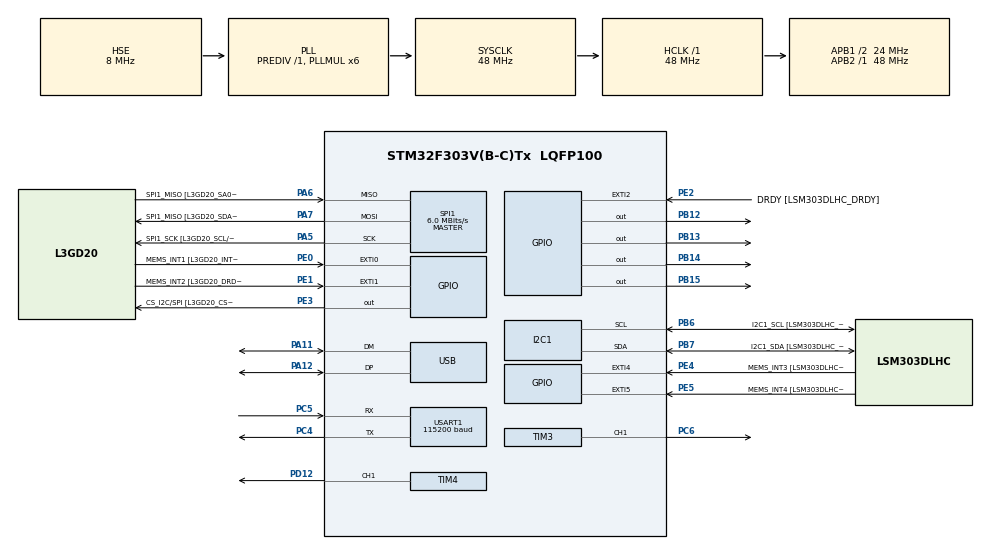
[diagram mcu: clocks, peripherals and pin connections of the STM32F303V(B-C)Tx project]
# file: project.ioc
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I2C1.Timing=0x2000090E
I2C1.Timing-I2C=0x2000090E
Mcu.Family=STM32F3
Mcu.Name=STM32F303V(B-C)Tx
Mcu.Package=LQFP100
NVIC.PriorityGroup=NVIC_PRIORITYGROUP_0
PA11.Mode=Device
PA11.Signal=USB_DM
PA12.Mode=Device
PA12.Signal=USB_DP
PA5.GPIO_Label=SPI1_SCK [L3GD20_SCL/SPC]
PA5.Mode=Full_Duplex_Master
PA5.Signal=SPI1_SCK
PA6.GPIO_Label=SPI1_MISO [L3GD20_SA0/SDO]
PA6.Mode=Full_Duplex_Master
PA6.Signal=SPI1_MISO
PA7.GPIO_Label=SPI1_MISO [L3GD20_SDA/SDI/SDO]
PA7.Mode=Full_Duplex_Master
PA7.Signal=SPI1_MOSI
PB12.Signal=GPIO_Output
PB13.Signal=GPIO_Output
PB14.Signal=GPIO_Output
PB15.Signal=GPIO_Output
PB6.GPIO_Label=I2C1_SCL [LSM303DLHC_SCL]
PB6.GPIO_Pu=GPIO_PULLUP
PB6.Mode=I2C
PB6.Signal=I2C1_SCL
PB7.GPIO_Label=I2C1_SDA [LSM303DLHC_SDA]
PB7.GPIO_Pu=GPIO_PULLUP
PB7.Mode=I2C
PB7.Signal=I2C1_SDA
PC4.Mode=Asynchronous
PC4.Signal=USART1_TX
PC5.Mode=Asynchronous
PC5.Signal=USART1_RX
PC6.Signal=S_TIM3_CH1
PD12.Signal=S_TIM4_CH1
PE0.GPIO_Label=MEMS_INT1 [L3GD20_INT1]
PE0.GPIO_ModeDefaultEXTI=GPIO_MODE_EVT_RISING
PE0.Signal=GPXTI0
PE1.GPIO_Label=MEMS_INT2 [L3GD20_DRDY/INT2]
PE1.GPIO_ModeDefaultEXTI=GPIO_MODE_EVT_RISING
PE1.Signal=GPXTI1
PE2.GPIO_Label=DRDY [LSM303DLHC_DRDY]
PE2.GPIO_ModeDefaultEXTI=GPIO_MODE_EVT_RISING
PE2.Signal=GPXTI2
PE3.GPIO_Label=CS_I2C/SPI [L3GD20_CS_I2C/SPI]
PE3.Signal=GPIO_Output
PE4.GPIO_Label=MEMS_INT3 [LSM303DLHC_INT1]
PE4.GPIO_ModeDefaultEXTI=GPIO_MODE_EVT_RISING
PE4.Signal=GPXTI4
PE5.GPIO_Label=MEMS_INT4 [LSM303DLHC_INT2]
PE5.GPIO_ModeDefaultEXTI=GPIO_MODE_EVT_RISING
PE5.Signal=GPXTI5
PF0-OSC_IN.Mode=HSE-External-Oscillator
PF0-OSC_IN.Signal=RCC_OSC_IN
PF1-OSC_OUT.Mode=HSE-External-Oscillator
PF1-OSC_OUT.Signal=RCC_OSC_OUT
ProjectManager.HeapSize=0x200
ProjectManager.StackSize=0x400
ProjectManager.TargetToolchain=CMake
RCC.AHBFreq_Value=48000000
RCC.APB1CLKDivider=RCC_HCLK_DIV2
RCC.APB1Freq_Value=24000000
RCC.APB1TimFreq_Value=48000000
RCC.APB2Freq_Value=48000000
RCC.APB2TimFreq_Value=48000000
RCC.CortexFreq_Value=48000000
RCC.HCLKFreq_Value=48000000
RCC.HSE_VALUE=8000000
RCC.HSI_VALUE=8000000
RCC.LSE_VALUE=32768
RCC.PLLMUL=RCC_PLL_MUL6
RCC.SYSCLKFreq_VALUE=48000000
RCC.SYSCLKSourceVirtual=RCC_SYSCLKSOURCE_PLLCLK
RCC.USBFreq_Value=48000000
SH.S_TIM3_CH1.0=TIM3_CH1,PWM Generation1 CH1
SH.S_TIM4_CH1.0=TIM4_CH1,PWM Generation1 CH1
SPI1.BaudRatePrescaler=SPI_BAUDRATEPRESCALER_8
SPI1.BaudRatePrescaler-Full_Duplex_Master=SPI_BAUDRATEPRESCALER_2
SPI1.CalculateBaudRate=6.0 MBits/s
SPI1.CalculateBaudRate-Full_Duplex_Master=24.0 MBits/s
SPI1.DataSize=SPI_DATASIZE_8BIT
SPI1.Direction=SPI_DIRECTION_2LINES
SPI1.Mode=SPI_MODE_MASTER
SPI1.Mode-Full_Duplex_Master=SPI_MODE_MASTER
SPI1.NSSPMode=SPI_NSS_PULSE_DISABLE
SPI1.VirtualType=VM_MASTER
TIM3.Channel-PWM\ Generation1\ CH1=TIM_CHANNEL_1
TIM4.Channel-PWM\ Generation1\ CH1=TIM_CHANNEL_1
USART1.BaudRate=115200
USART1.VirtualMode-Asynchronous=VM_ASYNC
VP_TIM3_VS_ClockSourceINT.Mode=Internal
VP_TIM4_VS_ClockSourceINT.Mode=Internal
board=STM32F3DISCOVERY

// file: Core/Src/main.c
/* USER CODE BEGIN Header */
/**
  ******************************************************************************
  * @file           : main.c
  * @brief          : Main program body
  ******************************************************************************
  * @attention
  *
  * Copyright (c) 2025 STMicroelectronics.
  * All rights reserved.
  *
  * This software is licensed under terms that can be found in the LICENSE file
  * in the root directory of this software component.
  * If no LICENSE file comes with this software, it is provided AS-IS.
  *
  ******************************************************************************
  */
/* USER CODE END Header */
#include "main.h"

/* USER CODE BEGIN Includes */
#include "pid.h"
#include <string.h>
#include <stdio.h>
#include <stdlib.h>
/* USER CODE END Includes */

I2C_HandleTypeDef hi2c1;

SPI_HandleTypeDef hspi1;

TIM_HandleTypeDef htim3;
TIM_HandleTypeDef htim4;

UART_HandleTypeDef huart1;

PCD_HandleTypeDef hpcd_USB_FS;

/* USER CODE BEGIN PV */
char Buffer[100];
float y_acc_offset = 0.0;
float angleY = 0.0;
int16_t y_raw;
PIDController balance_pid;
int16_t motor_direction;
float error;
float tiltAngle = 0.0;
uint16_t pwm_freq_prescaler = 47;
uint16_t duty_cycle = 0;
uint16_t pwm_period = 99;
float error = 0;
float int_error = 0;
float target_angle = 0.0;
#define IMU_ADDRESS_READ 0x33
#define IMU_ADDRESS_WRITE 0x32
#define CTRL_REG_1 0x20
#define Y_OUT_H 0x2B
#define Y_OUT_L 0x2A
#define SCALE_2G  3.9f
#define RAD_TO_DEG 57.2957795f
#define MOTOR_MAX_PWM 75
#define MOTOR_MIN_PWM 0
#define CTRL_REG1 0x20             // Gyroscope control register 1 address
#define CTRL_REG1_VAL 0b00011100
#define MAX_ERROR 20// Enables: Power, X/Y/Z axes, and sets Output Data Rate (ODR)

#define CTRL_REG4  0x23
#define CTRL_REG4_VAL  0b00000000  // Full-scale = ±245 dps

float gyro_offset = 0.0;

#define SAMPLE_SIZE 5
/* USER CODE END PV */

void SystemClock_Config(void);
static void MX_GPIO_Init(void);
static void MX_I2C1_Init(void);
static void MX_SPI1_Init(void);
static void MX_USART1_UART_Init(void);
static void MX_USB_PCD_Init(void);
static void MX_TIM3_Init(void);
static void MX_TIM4_Init(void);

/* USER CODE BEGIN 0 */
void calibrate_accel_y(void) {

  const int num_readings = 20;
  float acc_sum = 0.0f;
  uint8_t yl, yh;

  for (int i = 0; i < num_readings; i++) {

      // Read X-axis low and high bytes
      HAL_I2C_Mem_Read(&hi2c1, IMU_ADDRESS_READ, Y_OUT_L, I2C_MEMADD_SIZE_8BIT, &yl, 1, HAL_MAX_DELAY);
      HAL_I2C_Mem_Read(&hi2c1, IMU_ADDRESS_READ, Y_OUT_H, I2C_MEMADD_SIZE_8BIT, &yh, 1, HAL_MAX_DELAY);

      int16_t raw_y = (int16_t)((yh << 8) | yl);
      int16_t accel_y = raw_y >> 6;
      float accel_y_mg = accel_y * SCALE_2G;
      float accel_y_g = (accel_y_mg / 1000.0f)*RAD_TO_DEG;

      acc_sum += accel_y_g;
      HAL_Delay(50);  // small delay between readings

  }

  y_acc_offset = acc_sum / num_readings;  // calculate the offset for gyro

}
float read_accel_y(void) {

  uint8_t yl, yh;

  HAL_I2C_Mem_Read(&hi2c1, IMU_ADDRESS_READ, Y_OUT_L, I2C_MEMADD_SIZE_8BIT, &yl, 1, HAL_MAX_DELAY);
  HAL_I2C_Mem_Read(&hi2c1, IMU_ADDRESS_READ, Y_OUT_H, I2C_MEMADD_SIZE_8BIT, &yh, 1, HAL_MAX_DELAY);

  int16_t raw_y = (int16_t)((yh<<8) | yl);
  int16_t accel_y = raw_y>>6; // for 10 bit
  float accel_y_mg = accel_y * SCALE_2G;
  return (accel_y_mg / 1000.0f) * RAD_TO_DEG;

}

void init_acc(){

  uint8_t ctrl1 = 0x63;
  uint8_t ctrl4 = 0x00;   // ±2g, normal resolution

  HAL_I2C_Mem_Write(&hi2c1, IMU_ADDRESS_WRITE, 0x20, I2C_MEMADD_SIZE_8BIT, &ctrl1, 1, HAL_MAX_DELAY);
  HAL_I2C_Mem_Write(&hi2c1, IMU_ADDRESS_WRITE, 0x23, I2C_MEMADD_SIZE_8BIT, &ctrl4, 1, HAL_MAX_DELAY);

}

void gyro_init()
{
    uint8_t tx[2] = { 0x20, 0b00011111 }; // Write CTRL_REG1 = 0x1F

    HAL_GPIO_WritePin(GPIOE, GPIO_PIN_3, GPIO_PIN_RESET); // CS low (start communication)
    HAL_SPI_Transmit(&hspi1, tx, 2, HAL_MAX_DELAY);       // Send address + value
    HAL_GPIO_WritePin(GPIOE, GPIO_PIN_3, GPIO_PIN_SET);   // CS high (end communication)
}
uint8_t gyro_read_register(uint8_t reg)
{
    uint8_t tx = 0x80 | reg; // Set MSB to indicate read operation
    uint8_t rx = 0;

    HAL_GPIO_WritePin(GPIOE, GPIO_PIN_3, GPIO_PIN_RESET); // CS low
    HAL_SPI_Transmit(&hspi1, &tx, 1, HAL_MAX_DELAY);       // Send register address
    HAL_SPI_Receive(&hspi1, &rx, 1, HAL_MAX_DELAY);        // Receive data byte
    HAL_GPIO_WritePin(GPIOE, GPIO_PIN_3, GPIO_PIN_SET);   // CS high

    return rx; // Return the value read from the register
}
void calibrate_gyro(void) {

  const int num_readings = 20;
  float gyro_sum = 0.0f;
  uint8_t y_l, y_h;
  int16_t y_raw;

  for (int i = 0; i < num_readings; ++i) {

    // Read low and high registers for y-axis:
    y_l = gyro_read_register(0x2A);
    y_h = gyro_read_register(0x2B);

    // Combine low and high bytes into 16-bit signed integers
    y_raw = (int16_t)(y_h << 8 | y_l);

    gyro_sum += y_raw;
  }

  gyro_offset = gyro_sum / num_readings;

}
void print_angle() {

  char msg[128];
  uint8_t y_l = gyro_read_register(0x28);
  uint8_t y_h = gyro_read_register(0x29);

  // Combine low and high bytes into 16-bit signed integers
  y_raw = (int16_t)(y_h << 8 | y_l);
  float final_accel = read_accel_y() - y_acc_offset;
  float gyro_filtered = y_raw - gyro_offset;
  // Read low and high registers for y-axis:

    // === Convert to dps (°/s) using sensitivity scale ===
  // According to L3GD20 datasheet, ±245 dps mode → 8.75 mdps/digit = 0.00875 dps/digit
  float final_gyro = -(gyro_filtered * 0.00875f);

  angleY = 0.98 * (angleY + final_gyro * (1 / SAMPLE_SIZE)) + 0.02 * final_accel;

}

void setPWMspeed(void) {
    char debug_buf[100];

    // Calculate error: target - current angle
    error = target_angle - angleY;
    sprintf(debug_buf, "Angle: %.2f\r\n", angleY);
    HAL_UART_Transmit(&huart1, (uint8_t*)debug_buf, strlen(debug_buf), HAL_MAX_DELAY);

    // Apply PID (target as setpoint, angleY as measurement)
    PIDController_Update(&balance_pid, target_angle, angleY);

    // Get PID output

    motor_direction = (int16_t)balance_pid.motor_output; //fr direction
    int16_t pwm_dutycycle= abs(motor_direction); //for speed (duty cycle)
    int16_t final_dutycycle = (pwm_dutycycle/((MAX_ERROR*balance_pid.kp)+150))*MOTOR_MAX_PWM;
    float pwm_percentage = (final_dutycycle * 100.0f) / MOTOR_MAX_PWM;
    if (pwm_percentage <= 3.0f) {
        final_dutycycle = 0;
    }

    // sprintf(debug_buf, "\tPID Output (PWM): %d\r\n", final_dutycycle);
    // HAL_UART_Transmit(&huart1, (uint8_t*)debug_buf, strlen(debug_buf), HAL_MAX_DELAY);

    // Clamp PID output

    //abs value change for compare
    // if (pwm_dutycycle > MOTOR_MAX_PWM) pwm_dutycycle  = MOTOR_MAX_PWM;
    // if (pwm_dutycycle  < MOTOR_MIN_PWM) pwm_dutycycle  = MOTOR_MIN_PWM;

    // Determine direction and apply PWM

    if(angleY>MAX_ERROR || angleY<-MAX_ERROR){ // Stop
        HAL_GPIO_WritePin(GPIOB, GPIO_PIN_0, GPIO_PIN_RESET);
        HAL_GPIO_WritePin(GPIOB, GPIO_PIN_1, GPIO_PIN_RESET);
        HAL_GPIO_WritePin(GPIOB, GPIO_PIN_2, GPIO_PIN_RESET);
        HAL_GPIO_WritePin(GPIOB, GPIO_PIN_3, GPIO_PIN_RESET);

        __HAL_TIM_SET_COMPARE(&htim3, TIM_CHANNEL_1, 0);
        __HAL_TIM_SET_COMPARE(&htim4, TIM_CHANNEL_1, 0);
        // HAL_UART_Transmit(&huart1, (uint8_t*)"Direction: Stop\r\n", 17, HAL_MAX_DELAY);
    }else{
      if (motor_direction>=0) { // Forward
        HAL_GPIO_WritePin(GPIOB, GPIO_PIN_12, GPIO_PIN_RESET);
        HAL_GPIO_WritePin(GPIOB, GPIO_PIN_13, GPIO_PIN_SET);
        HAL_GPIO_WritePin(GPIOB, GPIO_PIN_14, GPIO_PIN_RESET);
        HAL_GPIO_WritePin(GPIOB, GPIO_PIN_15, GPIO_PIN_SET);

        __HAL_TIM_SET_COMPARE(&htim3, TIM_CHANNEL_1, final_dutycycle );
        __HAL_TIM_SET_COMPARE(&htim4, TIM_CHANNEL_1, final_dutycycle );
        // HAL_UART_Transmit(&huart1, (uint8_t*)"Direction: Forward\r\n", 20, HAL_MAX_DELAY);
      //check for motor speed and 0><
    } else if (motor_direction< 0) { // Backward

        HAL_GPIO_WritePin(GPIOB, GPIO_PIN_12, GPIO_PIN_SET);
        HAL_GPIO_WritePin(GPIOB, GPIO_PIN_13, GPIO_PIN_RESET);
        HAL_GPIO_WritePin(GPIOB, GPIO_PIN_14, GPIO_PIN_SET);
        HAL_GPIO_WritePin(GPIOB, GPIO_PIN_15, GPIO_PIN_RESET);

       __HAL_TIM_SET_COMPARE(&htim3, TIM_CHANNEL_1, final_dutycycle );
        __HAL_TIM_SET_COMPARE(&htim4, TIM_CHANNEL_1, final_dutycycle );
        // HAL_UART_Transmit(&huart1, (uint8_t*)"Direction: Backward\r\n", 22, HAL_MAX_DELAY);
        // angle +-20 stop

    }
    }
}
/* USER CODE END 0 */

int main(void)
{

  /* MCU Configuration--------------------------------------------------------*/

  /* Reset of all peripherals, Initializes the Flash interface and the Systick. */
  HAL_Init();

  /* Configure the system clock */
  SystemClock_Config();

  /* Initialize all configured peripherals */
  MX_GPIO_Init();
  MX_I2C1_Init();
  MX_SPI1_Init();
  MX_USART1_UART_Init();
  MX_USB_PCD_Init();
  MX_TIM3_Init();
  MX_TIM4_Init();
  /* USER CODE BEGIN 2 */
  gyro_init();       // Initialize gyro (enable power and axes)
  HAL_Delay(500);    // Delay to allow sensor to stabilize
  calibrate_gyro();
    // === Gyro End === //
  init_acc();
  HAL_Delay(500);    // Delay to allow sensor to stabilize
  calibrate_accel_y();

  HAL_TIM_PWM_Start(&htim3, TIM_CHANNEL_1);
  HAL_TIM_PWM_Start(&htim4, TIM_CHANNEL_1);
  HAL_GPIO_WritePin(GPIOB, GPIO_PIN_12,0);
  HAL_GPIO_WritePin(GPIOB, GPIO_PIN_13,0);
  HAL_GPIO_WritePin(GPIOB, GPIO_PIN_14,0);
  HAL_GPIO_WritePin(GPIOB, GPIO_PIN_15,0);
  balance_pid.kp =20;
  balance_pid.ki = 8;
  balance_pid.kd = 0;
  balance_pid.sampling_time = SAMPLE_SIZE;
  PIDController_Init(&balance_pid);
  /* USER CODE END 2 */

  /* Infinite loop */
  /* USER CODE BEGIN WHILE */
  while (1)
  {
      HAL_GPIO_TogglePin(GPIOC,GPIO_PIN_9);
      print_angle();
      setPWMspeed();
      HAL_Delay(SAMPLE_SIZE);
    /* USER CODE END WHILE */

  }
}

void SystemClock_Config(void)
{
  RCC_OscInitTypeDef RCC_OscInitStruct = {0};
  RCC_ClkInitTypeDef RCC_ClkInitStruct = {0};
  RCC_PeriphCLKInitTypeDef PeriphClkInit = {0};

  /** Initializes the RCC Oscillators according to the specified parameters
  * in the RCC_OscInitTypeDef structure.
  */
  RCC_OscInitStruct.OscillatorType = RCC_OSCILLATORTYPE_HSI|RCC_OSCILLATORTYPE_HSE;
  RCC_OscInitStruct.HSEState = RCC_HSE_ON;
  RCC_OscInitStruct.HSEPredivValue = RCC_HSE_PREDIV_DIV1;
  RCC_OscInitStruct.HSIState = RCC_HSI_ON;
  RCC_OscInitStruct.HSICalibrationValue = RCC_HSICALIBRATION_DEFAULT;
  RCC_OscInitStruct.PLL.PLLState = RCC_PLL_ON;
  RCC_OscInitStruct.PLL.PLLSource = RCC_PLLSOURCE_HSE;
  RCC_OscInitStruct.PLL.PLLMUL = RCC_PLL_MUL6;
  if (HAL_RCC_OscConfig(&RCC_OscInitStruct) != HAL_OK)
  {
    Error_Handler();
  }

  /** Initializes the CPU, AHB and APB buses clocks
  */
  RCC_ClkInitStruct.ClockType = RCC_CLOCKTYPE_HCLK|RCC_CLOCKTYPE_SYSCLK
                              |RCC_CLOCKTYPE_PCLK1|RCC_CLOCKTYPE_PCLK2;
  RCC_ClkInitStruct.SYSCLKSource = RCC_SYSCLKSOURCE_PLLCLK;
  RCC_ClkInitStruct.AHBCLKDivider = RCC_SYSCLK_DIV1;
  RCC_ClkInitStruct.APB1CLKDivider = RCC_HCLK_DIV2;
  RCC_ClkInitStruct.APB2CLKDivider = RCC_HCLK_DIV1;

  if (HAL_RCC_ClockConfig(&RCC_ClkInitStruct, FLASH_LATENCY_1) != HAL_OK)
  {
    Error_Handler();
  }
  PeriphClkInit.PeriphClockSelection = RCC_PERIPHCLK_USB|RCC_PERIPHCLK_USART1
                              |RCC_PERIPHCLK_I2C1;
  PeriphClkInit.Usart1ClockSelection = RCC_USART1CLKSOURCE_PCLK2;
  PeriphClkInit.I2c1ClockSelection = RCC_I2C1CLKSOURCE_HSI;
  PeriphClkInit.USBClockSelection = RCC_USBCLKSOURCE_PLL;
  if (HAL_RCCEx_PeriphCLKConfig(&PeriphClkInit) != HAL_OK)
  {
    Error_Handler();
  }
}

static void MX_I2C1_Init(void)
{

  hi2c1.Instance = I2C1;
  hi2c1.Init.Timing = 0x2000090E;
  hi2c1.Init.OwnAddress1 = 0;
  hi2c1.Init.AddressingMode = I2C_ADDRESSINGMODE_7BIT;
  hi2c1.Init.DualAddressMode = I2C_DUALADDRESS_DISABLE;
  hi2c1.Init.OwnAddress2 = 0;
  hi2c1.Init.OwnAddress2Masks = I2C_OA2_NOMASK;
  hi2c1.Init.GeneralCallMode = I2C_GENERALCALL_DISABLE;
  hi2c1.Init.NoStretchMode = I2C_NOSTRETCH_DISABLE;
  if (HAL_I2C_Init(&hi2c1) != HAL_OK)
  {
    Error_Handler();
  }

  /** Configure Analogue filter
  */
  if (HAL_I2CEx_ConfigAnalogFilter(&hi2c1, I2C_ANALOGFILTER_ENABLE) != HAL_OK)
  {
    Error_Handler();
  }

  /** Configure Digital filter
  */
  if (HAL_I2CEx_ConfigDigitalFilter(&hi2c1, 0) != HAL_OK)
  {
    Error_Handler();
  }

}

static void MX_SPI1_Init(void)
{

  /* SPI1 parameter configuration*/
  hspi1.Instance = SPI1;
  hspi1.Init.Mode = SPI_MODE_MASTER;
  hspi1.Init.Direction = SPI_DIRECTION_2LINES;
  hspi1.Init.DataSize = SPI_DATASIZE_8BIT;
  hspi1.Init.CLKPolarity = SPI_POLARITY_LOW;
  hspi1.Init.CLKPhase = SPI_PHASE_1EDGE;
  hspi1.Init.NSS = SPI_NSS_SOFT;
  hspi1.Init.BaudRatePrescaler = SPI_BAUDRATEPRESCALER_8;
  hspi1.Init.FirstBit = SPI_FIRSTBIT_MSB;
  hspi1.Init.TIMode = SPI_TIMODE_DISABLE;
  hspi1.Init.CRCCalculation = SPI_CRCCALCULATION_DISABLE;
  hspi1.Init.CRCPolynomial = 7;
  hspi1.Init.CRCLength = SPI_CRC_LENGTH_DATASIZE;
  hspi1.Init.NSSPMode = SPI_NSS_PULSE_DISABLE;
  if (HAL_SPI_Init(&hspi1) != HAL_OK)
  {
    Error_Handler();
  }

}

static void MX_TIM3_Init(void)
{

  TIM_ClockConfigTypeDef sClockSourceConfig = {0};
  TIM_MasterConfigTypeDef sMasterConfig = {0};
  TIM_OC_InitTypeDef sConfigOC = {0};

  htim3.Instance = TIM3;
  htim3.Init.Prescaler = pwm_freq_prescaler;
  htim3.Init.CounterMode = TIM_COUNTERMODE_UP;
  htim3.Init.Period = pwm_period;
  htim3.Init.ClockDivision = TIM_CLOCKDIVISION_DIV1;
  htim3.Init.AutoReloadPreload = TIM_AUTORELOAD_PRELOAD_DISABLE;
  if (HAL_TIM_Base_Init(&htim3) != HAL_OK)
  {
    Error_Handler();
  }
  sClockSourceConfig.ClockSource = TIM_CLOCKSOURCE_INTERNAL;
  if (HAL_TIM_ConfigClockSource(&htim3, &sClockSourceConfig) != HAL_OK)
  {
    Error_Handler();
  }
  if (HAL_TIM_PWM_Init(&htim3) != HAL_OK)
  {
    Error_Handler();
  }
  sMasterConfig.MasterOutputTrigger = TIM_TRGO_RESET;
  sMasterConfig.MasterSlaveMode = TIM_MASTERSLAVEMODE_DISABLE;
  if (HAL_TIMEx_MasterConfigSynchronization(&htim3, &sMasterConfig) != HAL_OK)
  {
    Error_Handler();
  }
  sConfigOC.OCMode = TIM_OCMODE_PWM1;
  sConfigOC.Pulse = duty_cycle;
  sConfigOC.OCPolarity = TIM_OCPOLARITY_HIGH;
  sConfigOC.OCFastMode = TIM_OCFAST_DISABLE;
  if (HAL_TIM_PWM_ConfigChannel(&htim3, &sConfigOC, TIM_CHANNEL_1) != HAL_OK)
  {
    Error_Handler();
  }
  HAL_TIM_MspPostInit(&htim3);

}

static void MX_TIM4_Init(void)
{

  TIM_ClockConfigTypeDef sClockSourceConfig = {0};
  TIM_MasterConfigTypeDef sMasterConfig = {0};
  TIM_OC_InitTypeDef sConfigOC = {0};

  htim4.Instance = TIM4;
  htim4.Init.Prescaler =pwm_freq_prescaler;
  htim4.Init.CounterMode = TIM_COUNTERMODE_UP;
  htim4.Init.Period = pwm_period;
  htim4.Init.ClockDivision = TIM_CLOCKDIVISION_DIV1;
  htim4.Init.AutoReloadPreload = TIM_AUTORELOAD_PRELOAD_DISABLE;
  if (HAL_TIM_Base_Init(&htim4) != HAL_OK)
  {
    Error_Handler();
  }
  sClockSourceConfig.ClockSource = TIM_CLOCKSOURCE_INTERNAL;
  if (HAL_TIM_ConfigClockSource(&htim4, &sClockSourceConfig) != HAL_OK)
  {
    Error_Handler();
  }
  if (HAL_TIM_PWM_Init(&htim4) != HAL_OK)
  {
    Error_Handler();
  }
  sMasterConfig.MasterOutputTrigger = TIM_TRGO_RESET;
  sMasterConfig.MasterSlaveMode = TIM_MASTERSLAVEMODE_DISABLE;
  if (HAL_TIMEx_MasterConfigSynchronization(&htim4, &sMasterConfig) != HAL_OK)
  {
    Error_Handler();
  }
  sConfigOC.OCMode = TIM_OCMODE_PWM1;
  sConfigOC.Pulse = duty_cycle;
  sConfigOC.OCPolarity = TIM_OCPOLARITY_HIGH;
  sConfigOC.OCFastMode = TIM_OCFAST_DISABLE;
  if (HAL_TIM_PWM_ConfigChannel(&htim4, &sConfigOC, TIM_CHANNEL_1) != HAL_OK)
  {
    Error_Handler();
  }
  HAL_TIM_MspPostInit(&htim4);

}

static void MX_USART1_UART_Init(void)
{

  huart1.Instance = USART1;
  huart1.Init.BaudRate = 115200;
  huart1.Init.WordLength = UART_WORDLENGTH_8B;
  huart1.Init.StopBits = UART_STOPBITS_1;
  huart1.Init.Parity = UART_PARITY_NONE;
  huart1.Init.Mode = UART_MODE_TX_RX;
  huart1.Init.HwFlowCtl = UART_HWCONTROL_NONE;
  huart1.Init.OverSampling = UART_OVERSAMPLING_16;
  huart1.Init.OneBitSampling = UART_ONE_BIT_SAMPLE_DISABLE;
  huart1.AdvancedInit.AdvFeatureInit = UART_ADVFEATURE_NO_INIT;
  if (HAL_UART_Init(&huart1) != HAL_OK)
  {
    Error_Handler();
  }

}

static void MX_USB_PCD_Init(void)
{

  hpcd_USB_FS.Instance = USB;
  hpcd_USB_FS.Init.dev_endpoints = 8;
  hpcd_USB_FS.Init.speed = PCD_SPEED_FULL;
  hpcd_USB_FS.Init.phy_itface = PCD_PHY_EMBEDDED;
  hpcd_USB_FS.Init.low_power_enable = DISABLE;
  hpcd_USB_FS.Init.battery_charging_enable = DISABLE;
  if (HAL_PCD_Init(&hpcd_USB_FS) != HAL_OK)
  {
    Error_Handler();
  }

}

static void MX_GPIO_Init(void)
{
  GPIO_InitTypeDef GPIO_InitStruct = {0};

  /* GPIO Ports Clock Enable */
  __HAL_RCC_GPIOE_CLK_ENABLE();
  __HAL_RCC_GPIOF_CLK_ENABLE();
  __HAL_RCC_GPIOA_CLK_ENABLE();
  __HAL_RCC_GPIOC_CLK_ENABLE();
  __HAL_RCC_GPIOB_CLK_ENABLE();
  __HAL_RCC_GPIOD_CLK_ENABLE();

  /*Configure GPIO pin Output Level */
  HAL_GPIO_WritePin(CS_I2C_SPI_GPIO_Port, CS_I2C_SPI_Pin, GPIO_PIN_RESET);

  /*Configure GPIO pin Output Level */
  HAL_GPIO_WritePin(GPIOB, GPIO_PIN_12|GPIO_PIN_13|GPIO_PIN_14|GPIO_PIN_15, GPIO_PIN_RESET);
  HAL_GPIO_WritePin(GPIOC, GPIO_PIN_9, GPIO_PIN_RESET);

  /*Configure GPIO pins : DRDY_Pin MEMS_INT3_Pin MEMS_INT4_Pin MEMS_INT1_Pin
                           MEMS_INT2_Pin */
  GPIO_InitStruct.Pin = DRDY_Pin|MEMS_INT3_Pin|MEMS_INT4_Pin|MEMS_INT1_Pin
                          |MEMS_INT2_Pin;
  GPIO_InitStruct.Mode = GPIO_MODE_EVT_RISING;
  GPIO_InitStruct.Pull = GPIO_NOPULL;
  HAL_GPIO_Init(GPIOE, &GPIO_InitStruct);

  /*Configure GPIO pin : CS_I2C_SPI_Pin */
  GPIO_InitStruct.Pin = CS_I2C_SPI_Pin;
  GPIO_InitStruct.Mode = GPIO_MODE_OUTPUT_PP;
  GPIO_InitStruct.Pull = GPIO_NOPULL;
  GPIO_InitStruct.Speed = GPIO_SPEED_FREQ_LOW;
  HAL_GPIO_Init(CS_I2C_SPI_GPIO_Port, &GPIO_InitStruct);

  /*Configure GPIO pins : PB12 PB13 PB14 PB15 */
  GPIO_InitStruct.Pin = GPIO_PIN_12|GPIO_PIN_13|GPIO_PIN_14|GPIO_PIN_15;
  GPIO_InitStruct.Mode = GPIO_MODE_OUTPUT_PP;
  GPIO_InitStruct.Pull = GPIO_NOPULL;
  GPIO_InitStruct.Speed = GPIO_SPEED_FREQ_LOW;
  HAL_GPIO_Init(GPIOB, &GPIO_InitStruct);

  /* USER CODE BEGIN MX_GPIO_Init_2 */
  GPIO_InitStruct.Pin = GPIO_PIN_9;
  GPIO_InitStruct.Mode = GPIO_MODE_OUTPUT_PP;
  GPIO_InitStruct.Pull = GPIO_NOPULL;
  GPIO_InitStruct.Speed = GPIO_SPEED_FREQ_LOW;
  HAL_GPIO_Init(GPIOC, &GPIO_InitStruct);

  /* USER CODE END MX_GPIO_Init_2 */
}

void Error_Handler(void)
{
  __disable_irq();
  while (1)
  {
  }
}
